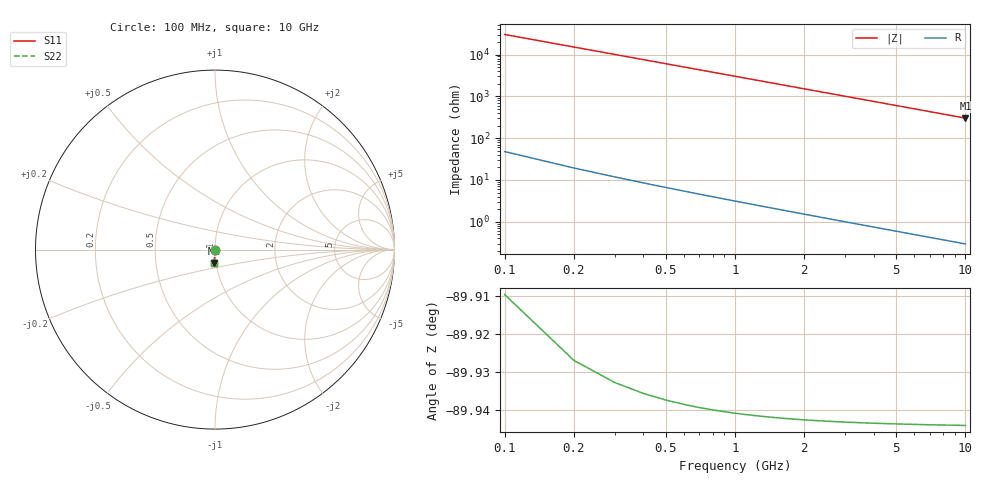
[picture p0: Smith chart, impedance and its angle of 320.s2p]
# Hz S RI R 50.00
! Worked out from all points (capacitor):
!   100 points, 100 MHz to 10 GHz, reference 50 ohm
!   read as one part in shunt: C = 52.5 fF near 100 MHz
!   lowest |Z| = 302 ohm at 10 GHz (marker M1)
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1e8  4.41e-05 -0.000748  1 -0.000903  1 -0.000903  4.41e-05 -0.000748
2e8  4.15e-05 -0.0015  0.9999 -0.00181  0.9999 -0.00181  4.15e-05 -0.0015
3e8  3.76e-05 -0.00224  0.9999 -0.00271  0.9999 -0.00271  3.76e-05 -0.00224
4e8  3.23e-05 -0.00299  0.9999 -0.00361  0.9999 -0.00361  3.23e-05 -0.00299
5e8  2.55e-05 -0.00374  0.9999 -0.00451  0.9999 -0.00451  2.55e-05 -0.00374
6e8  1.75e-05 -0.00449  0.9999 -0.00542  0.9999 -0.00542  1.75e-05 -0.00449
7e8  8.01e-06 -0.00524  0.9999 -0.00632  0.9999 -0.00632  8.01e-06 -0.00524
8e8  -2.79e-06 -0.00598  0.9999 -0.00722  0.9999 -0.00722  -2.79e-06 -0.00598
9e8  -1.5e-05 -0.00673  0.9999 -0.00813  0.9999 -0.00813  -1.5e-05 -0.00673
1.1e9  -4.34e-05 -0.00823  0.9999 -0.00993  0.9999 -0.00993  -4.34e-05 -0.00823
1.4e9  -9.61e-05 -0.0105  0.9998 -0.0126  0.9998 -0.0126  -9.61e-05 -0.0105
1.8e9  -0.000185 -0.0135  0.9997 -0.0163  0.9997 -0.0163  -0.000185 -0.0135
2.1e9  -0.000267 -0.0157  0.9996 -0.019  0.9996 -0.019  -0.000267 -0.0157
2.5e9  -0.000394 -0.0187  0.9995 -0.0226  0.9995 -0.0226  -0.000394 -0.0187
2.9e9  -0.000543 -0.0217  0.9993 -0.0262  0.9993 -0.0262  -0.000543 -0.0217
3.4e9  -0.00076 -0.0254  0.9991 -0.0307  0.9991 -0.0307  -0.00076 -0.0254
4.2e9  -0.00118 -0.0314  0.9987 -0.0379  0.9987 -0.0379  -0.00118 -0.0314
5.1e9  -0.00175 -0.0381  0.9981 -0.0461  0.9981 -0.0461  -0.00175 -0.0381
5.9e9  -0.00235 -0.0441  0.9975 -0.0533  0.9975 -0.0533  -0.00235 -0.0441
6.7e9  -0.00304 -0.0501  0.9968 -0.0605  0.9968 -0.0605  -0.00304 -0.0501
8.4e9  -0.00479 -0.0627  0.995 -0.0758  0.995 -0.0758  -0.00479 -0.0627
1e10  -0.0068 -0.0746  0.993 -0.0901  0.993 -0.0901  -0.0068 -0.0746
